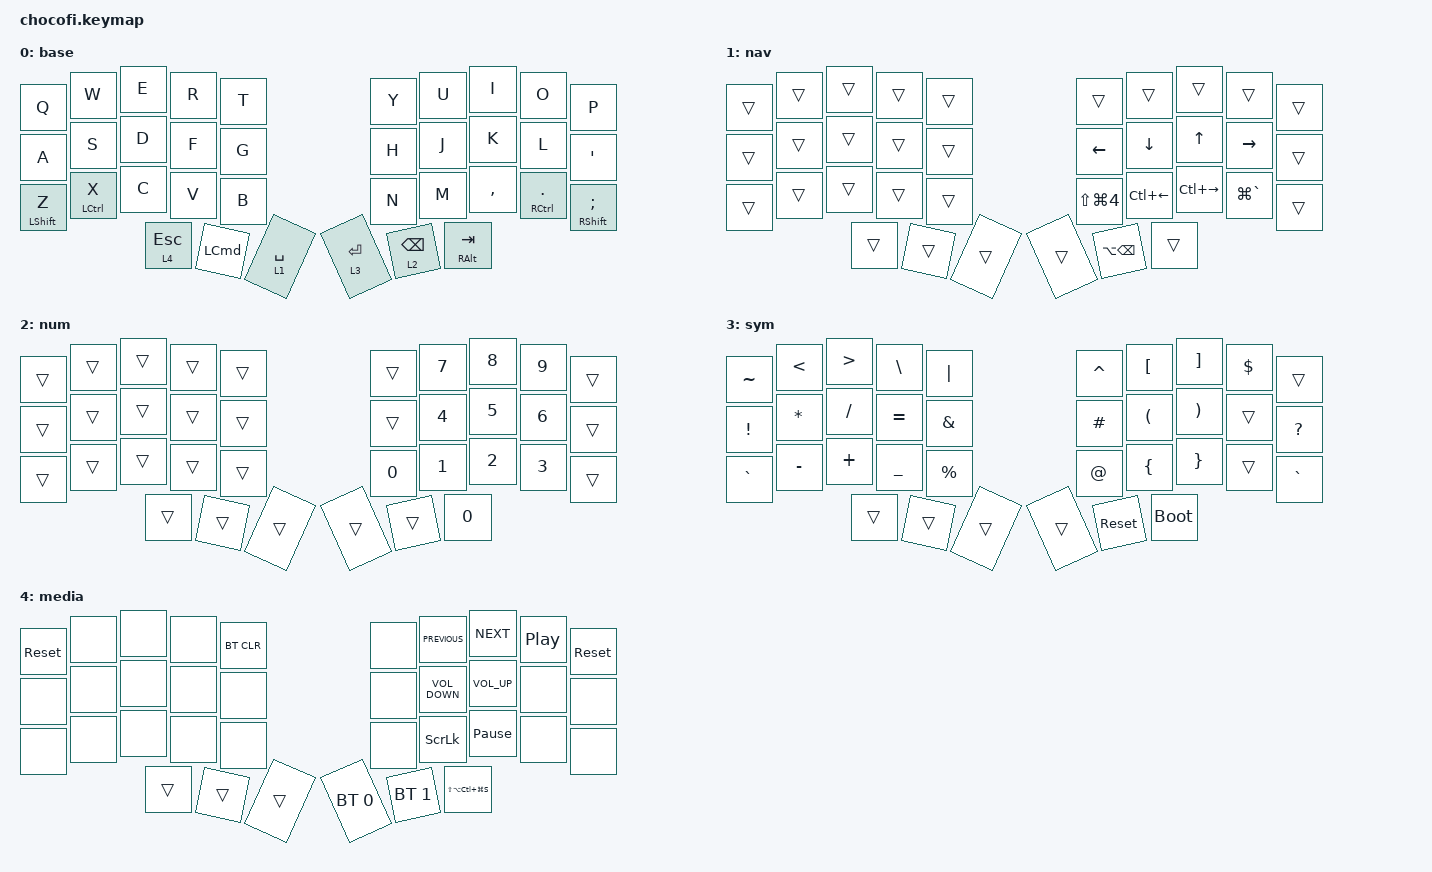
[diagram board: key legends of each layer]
// https://nickcoutsos.github.io/keymap-editor/

#define BASE 0
#define NAV 1
#define NUM 2
#define FUN 3
#define MEDIA 4

#include "zmk-helpers/key-labels/36.h"
#include <behaviors.dtsi>
#include <dt-bindings/zmk/bt.h>
#include <dt-bindings/zmk/keys.h>

&lt {
    tapping-term-ms = <200>;
    quick-tap-ms = <200>;
    flavor = "balanced";
};

&sk { quick-release; };

&mt { quick-tap-ms = <175>; };

/ {
    behaviors {
        hm_l: homerow_mods_left {
            compatible = "zmk,behavior-hold-tap";
            #binding-cells = <2>;
            bindings = <&kp>, <&kp>;

            flavor = "balanced";
            tapping-term-ms = <280>;
            quick-tap-ms = <175>;
            require-prior-idle-ms = <150>;
            hold-trigger-key-positions = <5 6 7 8 9 19 15 16 17 18 19 25 26 27 28 29 33 34 35 30 31 32>;
            hold-trigger-on-release;
        };

        hm_r: homerow_mods_right {
            compatible = "zmk,behavior-hold-tap";
            #binding-cells = <2>;
            bindings = <&kp>, <&kp>;

            flavor = "balanced";
            tapping-term-ms = <280>;
            quick-tap-ms = <175>;
            require-prior-idle-ms = <150>;
            hold-trigger-key-positions = <0 1 2 3 4 10 11 12 13 14 20 21 22 23 24 30 31 32 33 34 35>;
            hold-trigger-on-release;
        };

        hm_shift_l: hm_shift_l {
            compatible = "zmk,behavior-hold-tap";
            #binding-cells = <2>;
            bindings = <&kp>, <&kp>;

            flavor = "balanced";
            tapping-term-ms = <200>;
            quick-tap-ms = <175>;
            hold-trigger-key-positions = <5 6 7 8 9 15 16 17 18 19 25 26 27 28 29 33 34 35 30 31 32>;
        };

        hm_shift_r: hm_shift_r {
            compatible = "zmk,behavior-hold-tap";
            #binding-cells = <2>;
            bindings = <&kp>, <&kp>;

            flavor = "balanced";
            tapping-term-ms = <200>;
            quick-tap-ms = <175>;
            hold-trigger-key-positions = <0 1 2 3 4 10 11 12 13 14 20 21 22 23 24 30 31 32 33 34 35>;
        };
    };
};

/ {
    combos {
        compatible = "zmk,combos";

        fast_shift {
            bindings = <&kp LEFT_SHIFT>;
            key-positions = <12 13>;
            layers = <0>;
        };

        cmd {
            bindings = <&caps_word>;
            key-positions = <22 23>;
            layers = <0>;
        };

        esc {
            bindings = <&kp ESCAPE>;
            key-positions = <16 17>;
            layers = <0>;
        };

        backspace {
            bindings = <&kp BACKSPACE>;
            key-positions = <0 1>;
        };
    };

    keymap {
        compatible = "zmk,keymap";

        base {
            display-name = "base";
            bindings = <
&kp Q                &kp W          &kp E         &kp R     &kp T          &kp Y        &kp U            &kp I         &kp O               &kp P
&kp A                &kp S          &kp D         &kp F     &kp G          &kp H        &kp J            &kp K         &kp L               &kp SINGLE_QUOTE
&hm_shift_l LSHFT Z  &hm_l LCTRL X  &kp C         &kp V     &kp B          &kp N        &kp M            &kp COMMA     &hm_r RCTRL PERIOD  &hm_shift_r RSHFT SEMI
                                    &lt 4 ESCAPE  &kp LCMD  &lt 1 SPACE    &lt 3 ENTER  &lt 2 BACKSPACE  &mt RALT TAB
            >;
        };

        nav {
            bindings = <
&trans  &trans  &trans  &trans  &trans    &trans                &trans             &trans         &trans         &trans
&trans  &trans  &trans  &trans  &trans    &kp LEFT              &kp DOWN           &kp UP_ARROW   &kp RIGHT      &trans
&trans  &trans  &trans  &trans  &trans    &kp LS(LG(NUMBER_4))  &kp LC(LEFT)       &kp LC(RIGHT)  &kp LG(GRAVE)  &trans
                &trans  &trans  &trans    &trans                &kp LA(BACKSPACE)  &trans
            >;

            label = "nav";
        };

        num {
            bindings = <
&trans  &trans  &trans  &trans  &trans    &trans  &kp N7  &kp N8  &kp N9  &trans
&trans  &trans  &trans  &trans  &trans    &trans  &kp N4  &kp N5  &kp N6  &trans
&trans  &trans  &trans  &trans  &trans    &kp N0  &kp N1  &kp N2  &kp N3  &trans
                &trans  &trans  &trans    &trans  &trans  &kp N0
            >;

            label = "num";
        };

        sym {
            bindings = <
&kp TILDE  &kp LESS_THAN  &kp GREATER_THAN  &kp BACKSLASH  &kp PIPE         &kp CARET  &kp LEFT_BRACKET  &kp RIGHT_BRACKET  &kp DOLLAR  &trans
&kp EXCL   &kp ASTRK      &kp SLASH         &kp EQUAL      &kp AMPERSAND    &kp HASH   &kp LPAR          &kp RPAR           &trans      &kp QUESTION
&kp GRAVE  &kp MINUS      &kp PLUS          &kp UNDER      &kp PERCENT      &kp AT     &kp LBRC          &kp RBRC           &trans      &kp GRAVE
                          &trans            &trans         &trans           &trans     &sys_reset        &bootloader
            >;

            label = "sym";
        };

        media {
            display-name = "media";
            bindings = <
&sys_reset  &none  &none   &none   &bt BT_CLR    &none         &kp C_PREVIOUS     &kp C_NEXT             &kp C_PP  &sys_reset
&none       &none  &none   &none   &none         &none         &kp K_VOLUME_DOWN  &kp K_VOLUME_UP        &none     &none
&none       &none  &none   &none   &none         &none         &kp SLCK           &kp PAUSE_BREAK        &none     &none
                   &trans  &trans  &trans        &bt BT_SEL 0  &bt BT_SEL 1       &kp LS(LA(LC(LG(S))))
            >;
        };
    };
};
